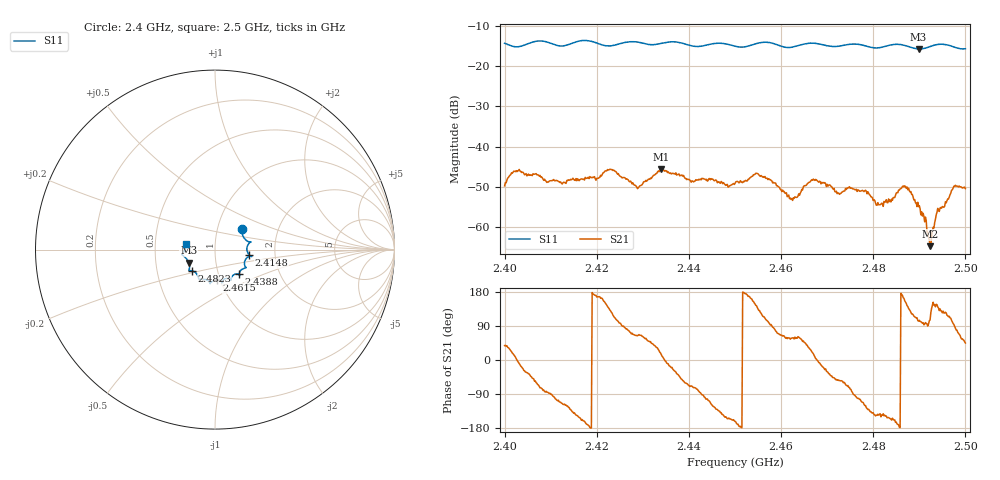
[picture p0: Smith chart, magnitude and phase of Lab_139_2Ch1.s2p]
# Hz S RI R 50
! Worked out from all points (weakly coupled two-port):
!   601 points, 2.4 GHz to 2.5 GHz, reference 50 ohm
!   highest |S21| = -45.51 dB at 2.434 GHz (marker M1); lowest = -64.7 dB at 2.4923 GHz (marker M2)
!   lowest |S11| = -15.8 dB at 2.4898 GHz (marker M3), VSWR 1.39, Z = 36.9 - j5.47 ohm
!   |S11| at or under -10 dB: start of sweep to end of sweep
!   S12 and S22 are empty: the file has one direction only
!   S11 on the Smith chart (normalised r, x): 2.4 GHz: 1.31, +0.32; 2.4148 GHz: 1.47, -0.10; 2.4388 GHz: 1.25, -0.36; 2.4615 GHz: 0.97, -0.34; 2.4823 GHz: 0.75, -0.18; 2.5 GHz: 0.72, +0.04
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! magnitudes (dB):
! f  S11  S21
! 2.4 GHz  -14.3  -49.7
! 2.4027 GHz  -15.2  -46.2
! 2.4148 GHz  -14.3  -47.8
! 2.4167 GHz  -13.7  -48.0
! 2.4232 GHz  -15.0  -45.7
! 2.429 GHz  -14.1  -50.2
! 2.4333 GHz  -14.5  -46.1
! 2.434 GHz  -14.4  -45.5
! 2.4388 GHz  -14.4  -47.1
! 2.45 GHz  -15.1  -49.1
! 2.4548 GHz  -14.4  -46.6
! 2.4615 GHz  -15.4  -52.1
! 2.463 GHz  -15.2  -52.4
! 2.4667 GHz  -14.3  -48.2
! 2.4823 GHz  -15.2  -53.6
! 2.4833 GHz  -14.9  -53.0
! 2.4868 GHz  -14.9  -49.7
! 2.4898 GHz  -15.8  -54.9
! 2.4923 GHz  -15.1  -64.7
! 2.4942 GHz  -14.6  -55.9
! 2.4973 GHz  -15.2  -50.3
! 2.5 GHz  -15.7  -50.4
